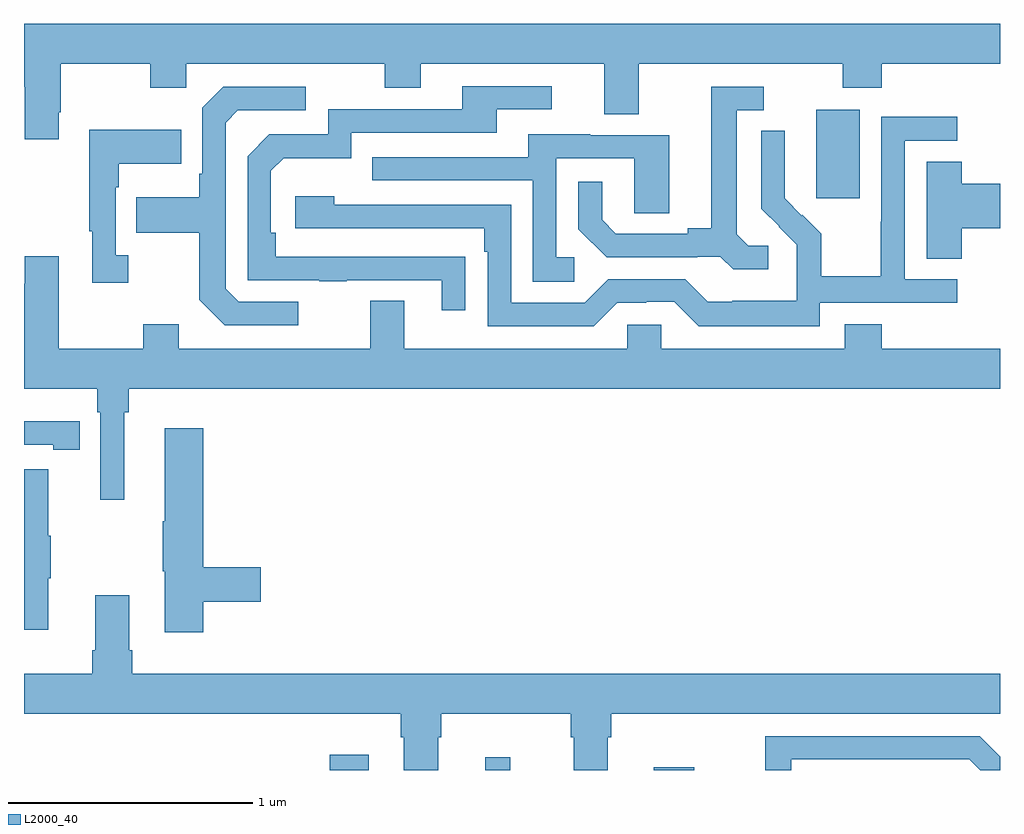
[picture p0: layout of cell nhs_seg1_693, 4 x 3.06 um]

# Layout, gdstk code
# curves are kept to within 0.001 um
import gdstk
lib = gdstk.Library(unit=1e-6, precision=1e-09)
def R(c, l, rs):  # rectangles x0, y0, x1, y1
    for r in rs: c.add(gdstk.rectangle(r[:2], r[2:], *l))
def P(c, l, *ps):  # polygons
    for p in ps: c.add(gdstk.Polygon(p, *l))
L2000_40 = (2000, 40)

nhs_seg1_693 = lib.new_cell('nhs_seg1_693')
R(nhs_seg1_693, L2000_40, [(150.254,518.199,150.412,518.263), (150.89,518.199,150.992,518.254), (151.58,518.199,151.746,518.212), (152.246,520.545,152.425,520.906)])
P(nhs_seg1_693, L2000_40, [(149.143,520.897),(149.151,520.897),(149.151,521.096),(149.518,521.096),(149.518,520.997),(149.664,520.997),(149.664,521.096),(150.478,521.096),(150.478,520.997),(150.625,520.997),(150.625,521.096),(151.379,521.096),(151.379,520.888),(151.519,520.888),(151.519,521.096),(152.356,521.096),(152.356,520.997),(152.516,520.997),(152.516,521.096),(153,521.096),(153,521.26),(149,521.26),(149,521),(149.003,521),(149.003,520.785),(149.143,520.785)],
  [(150.809,520.304),(150.032,520.305),(150.032,520.402),(150.012,520.402),(150.012,520.656),(150.065,520.709),(150.342,520.709),(150.342,520.812),(150.937,520.812),(150.937,520.908),(151.162,520.908),(151.162,521.004),(150.797,521.004),(150.797,520.908),(150.246,520.908),(150.246,520.806),(150.006,520.806),(149.916,520.716),(149.916,520.209),(150.211,520.209),(150.211,520.204),(150.323,520.204),(150.323,520.209),(150.713,520.209),(150.713,520.086),(150.809,520.086)],
  [(150.124,520.119),(149.88,520.119),(149.826,520.173),(149.826,520.854),(149.877,520.905),(150.154,520.905),(150.154,521.001),(149.817,521.001),(149.73,520.914),(149.73,520.645),(149.718,520.645),(149.718,520.549),(149.461,520.549),(149.461,520.402),(149.718,520.402),(149.718,520.129),(149.823,520.023),(150.124,520.023)],
  [(152.05,520.35),(151.968,520.35),(151.921,520.397),(151.921,520.905),(152.032,520.905),(152.032,521.001),(151.817,521.001),(151.817,520.421),(151.721,520.421),(151.721,520.398),(151.426,520.398),(151.369,520.455),(151.369,520.612),(151.272,520.612),(151.272,520.418),(151.388,520.302),(151.76,520.302),(151.76,520.305),(151.854,520.305),(151.906,520.253),(152.05,520.253)],
  [(152.262,520.116),(152.824,520.116),(152.824,520.212),(152.61,520.212),(152.61,520.779),(152.824,520.779),(152.824,520.878),(152.514,520.878),(152.514,520.448),(152.512,520.448),(152.512,520.225),(152.267,520.225),(152.267,520.399),(152.19,520.476),(152.187,520.473),(152.117,520.544),(152.118,520.82),(152.022,520.82),(152.022,520.502),(152.168,520.354),(152.168,520.257),(152.166,520.257),(152.166,520.123),(151.903,520.123),(151.903,520.119),(151.803,520.119),(151.71,520.212),(151.395,520.212),(151.299,520.116),(150.996,520.116),(150.996,520.518),(150.272,520.518),(150.272,520.552),(150.111,520.552),(150.111,520.422),(150.887,520.422),(150.887,520.325),(150.9,520.325),(150.9,520.02),(151.335,520.02),(151.431,520.116),(151.55,520.116),(151.55,520.119),(151.665,520.119),(151.765,520.019),(152.262,520.019)],
  [(149.428,520.31),(149.376,520.31),(149.376,520.589),(149.389,520.589),(149.389,520.685),(149.645,520.685),(149.645,520.825),(149.268,520.825),(149.268,520.409),(149.279,520.409),(149.279,520.197),(149.428,520.197)],
  [(151.255,520.302),(151.182,520.302),(151.182,520.707),(151.5,520.707),(151.5,520.483),(151.645,520.483),(151.645,520.803),(151.321,520.803),(151.321,520.807),(151.067,520.807),(151.067,520.713),(150.427,520.713),(150.427,520.617),(151.086,520.617),(151.086,520.201),(151.255,520.201)],
  [(152.843,520.421),(153,520.421),(153,520.604),(152.843,520.604),(152.843,520.694),(152.699,520.694),(152.699,520.297),(152.843,520.297)],
  [(149.003,520.306),(149.003,520.193),(149,520.193),(149,519.764),(149.3,519.764),(149.3,519.668),(149.313,519.668),(149.313,519.309),(149.41,519.309),(149.41,519.668),(149.429,519.668),(149.429,519.764),(153,519.764),(153,519.928),(152.516,519.928),(152.516,520.027),(152.363,520.027),(152.363,519.928),(151.611,519.928),(151.611,520.026),(151.473,520.026),(151.473,519.928),(150.559,519.928),(150.559,520.123),(150.419,520.123),(150.419,519.928),(149.635,519.928),(149.635,520.027),(149.488,520.027),(149.488,519.928),(149.143,519.928),(149.143,520.306)],
  [(149.228,519.63),(149.12,519.63),(149.12,519.631),(149,519.631),(149,519.534),(149.12,519.534),(149.12,519.514),(149.228,519.514)],
  [(149.735,518.89),(149.971,518.89),(149.971,519.032),(149.735,519.032),(149.735,519.601),(149.576,519.601),(149.576,519.221),(149.569,519.221),(149.569,519.015),(149.576,519.015),(149.576,518.766),(149.735,518.766)],
  [(149.099,518.987),(149.11,518.987),(149.11,519.161),(149.099,519.161),(149.099,519.433),(149,519.433),(149,518.775),(149.099,518.775)],
  [(150.697,518.336),(150.71,518.336),(150.71,518.432),(151.241,518.432),(151.241,518.336),(151.253,518.336),(151.253,518.199),(151.393,518.199),(151.393,518.336),(151.406,518.336),(151.406,518.432),(153,518.432),(153,518.596),(149.444,518.596),(149.444,518.692),(149.431,518.692),(149.431,518.917),(149.291,518.917),(149.291,518.692),(149.279,518.692),(149.279,518.596),(149,518.596),(149,518.432),(150.545,518.432),(150.545,518.336),(150.557,518.336),(150.557,518.199),(150.697,518.199)],
  [(152.145,518.244),(152.874,518.244),(152.919,518.199),(153,518.199),(153,518.256),(152.916,518.34),(152.037,518.34),(152.037,518.199),(152.145,518.199)])

lib.write_gds('nhs_seg1_693.gds')
